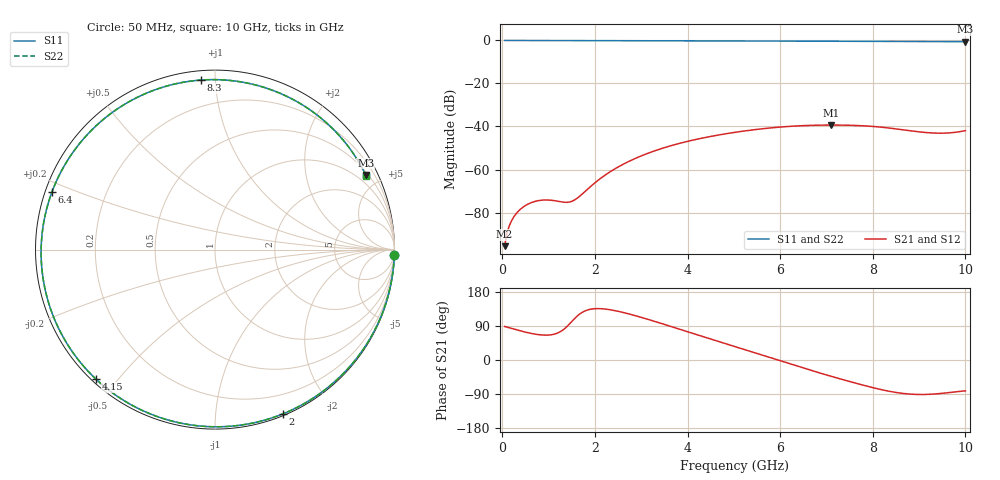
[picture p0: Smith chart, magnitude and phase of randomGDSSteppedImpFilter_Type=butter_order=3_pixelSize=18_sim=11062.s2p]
! freq	dB(S11)	phase(S11)	dB(S12)	phase(S12)
!  dB(S21)	phase(S21)	dB(S22)	phase(S22)
!S-par simulation data
#  GHz  S  DB  R 50
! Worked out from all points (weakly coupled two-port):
!   200 points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, 50 MHz to 10 GHz, reference 50 ohm
!   highest |S21| = -39.33 dB at 7.1 GHz (marker M1); lowest = -95.6 dB at 50 MHz (marker M2)
!   lowest |S11| = -0.6 dB at 10 GHz (marker M3), VSWR 30.67, Z = 30.7 + j209 ohm
!   |S11| at or under -10 dB: nowhere
!   |S22| runs from -0.6 to 0.0 dB; largest |S21 - S12| = 0
!   S11 on the Smith chart (normalised r, x): 50 MHz: 1, -65; 2 GHz: 0.02, -1.49; 4.15 GHz: 0.01, -0.44; 6.4 GHz: 0.02, +0.17; 8.3 GHz: 0.05, +0.92; 10 GHz: 0.61, +4.18
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0.05  -0.00 -1.8  -95.63 88.4  -95.63 88.4  -0.00 -1.8
0.3  -0.01 -10.5  -80.50 79.8  -80.50 79.8  -0.01 -10.5
0.55  -0.02 -19.1  -76.13 72.1  -76.13 72.1  -0.02 -19.1
0.8  -0.03 -27.7  -74.39 66.7  -74.39 66.7  -0.03 -27.7
1.45  -0.06 -49.6  -75.12 94.9  -75.12 94.9  -0.06 -49.7
1.75  -0.07 -59.5  -70.93 127.4  -70.93 127.4  -0.07 -59.5
2  -0.08 -67.6  -66.19 135.5  -66.19 135.5  -0.08 -67.6
2.6  -0.11 -86.5  -57.67 125.7  -57.67 125.7  -0.11 -86.5
3.4  -0.14 -110.7  -50.52 97.8  -50.52 97.8  -0.14 -110.7
4.15  -0.18 -132.7  -46.16 68.8  -46.16 68.8  -0.18 -132.7
5.05  -0.23 -158.8  -42.63 34.3  -42.63 34.3  -0.23 -158.8
5.75  -0.27 -179.4  -40.75 7.5  -40.75 7.5  -0.28 -179.5
6.4  -0.32 160.6  -39.70 -17.4  -39.70 -17.4  -0.32 160.5
6.7  -0.35 151.0  -39.45 -28.6  -39.45 -28.6  -0.35 150.9
7.1  -0.38 137.8  -39.33 -43.0  -39.33 -43.0  -0.38 137.6
7.75  -0.43 115.1  -39.63 -65.1  -39.63 -65.1  -0.43 114.9
8.3  -0.47 94.6  -40.59 -81.3  -40.59 -81.3  -0.47 94.4
8.35  -0.47 92.7  -40.71 -82.5  -40.71 -82.5  -0.47 92.5
8.75  -0.49 77.1  -41.82 -89.5  -41.82 -89.5  -0.49 76.8
9.15  -0.51 61.1  -42.80 -90.9  -42.80 -90.9  -0.52 60.8
9.6  -0.54 42.7  -43.04 -86.6  -43.04 -86.6  -0.54 42.4
10  -0.57 26.4  -41.92 -81.4  -41.92 -81.4  -0.57 26.0
